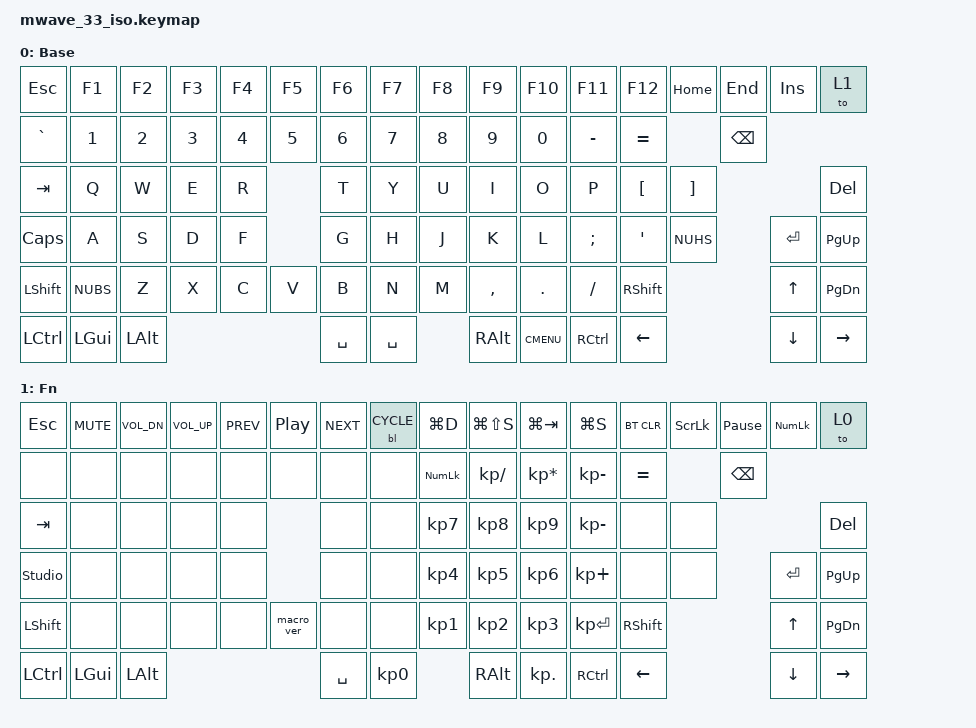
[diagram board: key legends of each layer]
#include <behaviors.dtsi>
#include <dt-bindings/zmk/backlight.h>
#include <dt-bindings/zmk/bt.h>
#include <dt-bindings/zmk/keys.h>
#include <dt-bindings/zmk/pointing.h>
#include <dt-bindings/zmk/outputs.h>
#include <dt-bindings/advertising_mode.h>
#include <behaviors/advertising_mode.dtsi>
#include <behaviors/stp_indicators.dtsi>
#include "studio-macros.dtsi"

/ {
    #include "mwave_prim.dtsi"

    chosen { zmk,physical_layout = &layout_1; };

    keymap {
        compatible = "zmk,keymap";

        default_layer {
            display-name = "Base";

            // -------------------------------------------------------------------------------------------------------
            // | ESC | F1  | F2  | F3  | F4  | F5  | F6  | | F7  | F8  | F9  | F10 | F11 | F12 |HOME| END |PSCN|  1  |
            // |GRAVE|  1  |  2  |  3  |  4  |  5  |  6  | |   7   |  8  |  9  |  0  |  -  |  =  |    BKSP     | DEL |
            // | TAB    |  Q  |  W  |  E  |  R  |   T    | |   Y  |  U  |  I  |  O  |  P  |  [  |  ]  |   \    |     |
            // | CAPS     |  A  |  S  |  D  |  F  |  G   | |  H    |  J  |  K  |  L  |  ;  |  '  |  HASH |ENTER| PGUP|
            // |SHIFT| BSLH|  Z  |  X  |  C  |  V  |  B  | |    N    |  M  |  ,  |  .  |  /  |   SHIFT   | UP  | PGDN|
            // |  CTL  |  WIN  |  ALT  |      SPACE      | |      SPACE        | ALT | MENU |RCTRL| LEFT| DOWN |RIGHT|
            // -------------------------------------------------------------------------------------------------------

            bindings = <
&kp ESC    &kp F1    &kp F2    &kp F3  &kp F4  &kp F5  &kp F6     &kp F7     &kp F8  &kp F9     &kp F10      &kp F11    &kp F12    &kp HOME  &kp END   &kp INSERT  &to 1
&kp GRAVE  &kp N1    &kp N2    &kp N3  &kp N4  &kp N5  &kp N6     &kp N7     &kp N8  &kp N9     &kp N0       &kp MINUS  &kp EQUAL            &kp BSPC
&kp TAB    &kp Q     &kp W     &kp E   &kp R           &kp T      &kp Y      &kp U   &kp I      &kp O        &kp P      &kp LBKT   &kp RBKT                        &kp DEL
&kp CLCK   &kp A     &kp S     &kp D   &kp F           &kp G      &kp H      &kp J   &kp K      &kp L        &kp SEMI   &kp SQT    &kp NUHS            &kp RET     &kp PG_UP
&kp LSHFT  &kp NUBS  &kp Z     &kp X   &kp C   &kp V   &kp B      &kp N      &kp M   &kp COMMA  &kp DOT      &kp FSLH   &kp RSHFT                      &kp UP      &kp PG_DN
&kp LCTRL  &kp LGUI  &kp LALT                          &kp SPACE  &kp SPACE          &kp RALT   &kp K_CMENU  &kp RCTRL  &kp LEFT                       &kp DOWN    &kp RIGHT
            >;
        };

        raise {
            display-name = "Fn";
            bindings = <
&kp ESCAPE      &kp C_MUTE    &kp C_VOL_DN  &kp C_VOL_UP  &kp C_PREV  &kp C_PP    &kp C_NEXT  &bl BL_CYCLE  &kp LG(D)    &kp LG(LS(S))  &kp LG(TAB)      &kp LG(S)     &bt BT_CLR       &kp SCROLLLOCK  &kp PAUSE_BREAK  &kp KP_NUMLOCK  &to 0
&none           &none         &none         &none         &none       &none       &none       &none         &kp KP_NLCK  &kp KP_DIVIDE  &kp KP_MULTIPLY  &kp KP_MINUS  &kp EQUAL                        &kp BACKSPACE
&kp TAB         &none         &none         &none         &none                   &none       &none         &kp KP_N7    &kp KP_N8      &kp KP_N9        &kp KP_MINUS  &none            &none                                            &kp DELETE
&studio_unlock  &none         &none         &none         &none                   &none       &none         &kp KP_N4    &kp KP_N5      &kp KP_N6        &kp KP_PLUS   &none            &none                            &kp ENTER       &kp PAGE_UP
&kp LEFT_SHIFT  &none         &none         &none         &none       &macro_ver  &none       &none         &kp KP_N1    &kp KP_N2      &kp KP_N3        &kp KP_ENTER  &kp RIGHT_SHIFT                                   &kp UP_ARROW    &kp PAGE_DOWN
&kp LCTRL       &kp LEFT_GUI  &kp LEFT_ALT                                        &kp SPACE   &kp KP_N0                  &kp RIGHT_ALT  &kp KP_DOT       &kp RCTRL     &kp LEFT_ARROW                                    &kp DOWN        &kp RIGHT_ARROW
            >;
        };

        extra1 {
            display-name = "Blue";
            status = "reserved";
        };

        extra2 {
            display-name = "Green";
            status = "reserved";
        };

        extra3 {
            display-name = "Red";
            status = "reserved";
        };

        extra4 {
            display-name = "Purple";
            status = "reserved";
        };

        extra5 {
            display-name = "Cyan";
            status = "reserved";
        };

        extra6 {
            display-name = "Yellow";
            status = "reserved";
        };
    };
};
